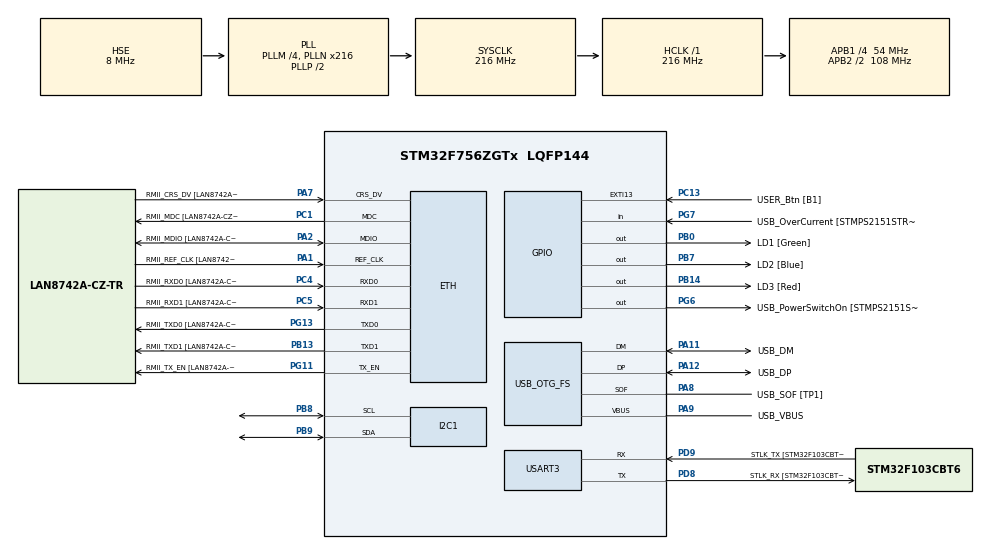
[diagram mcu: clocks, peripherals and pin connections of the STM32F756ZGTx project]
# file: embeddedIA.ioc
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CORTEX_M7.CPU_DCache=Enabled
CORTEX_M7.CPU_ICache=Enabled
CORTEX_M7.default_mode_Activation=1
ETH.MediaInterface=HAL_ETH_RMII_MODE
ETH.PHY_Name=LAN8742A_PHY_ADDRESS
ETH.PHY_Value=0
ETH.PhyAddress=0
I2C1.Timing=0x00808CD2
Mcu.Family=STM32F7
Mcu.Name=STM32F756ZGTx
Mcu.Package=LQFP144
NVIC.PriorityGroup=NVIC_PRIORITYGROUP_4
PA1.GPIO_Label=RMII_REF_CLK [LAN8742A-CZ-TR_REFCLK0]
PA1.Mode=RMII
PA1.Signal=ETH_REF_CLK
PA10.GPIO_Label=USB_ID
PA10.Signal=USB_OTG_FS_ID
PA11.GPIO_Label=USB_DM
PA11.Mode=Device_Only
PA11.Signal=USB_OTG_FS_DM
PA12.GPIO_Label=USB_DP
PA12.Mode=Device_Only
PA12.Signal=USB_OTG_FS_DP
PA13.GPIO_Label=TMS
PA13.Mode=Serial_Wire
PA13.Signal=SYS_JTMS-SWDIO
PA14.GPIO_Label=TCK
PA14.Mode=Serial_Wire
PA14.Signal=SYS_JTCK-SWCLK
PA2.GPIO_Label=RMII_MDIO [LAN8742A-CZ-TR_MDIO]
PA2.Mode=RMII
PA2.Signal=ETH_MDIO
PA7.GPIO_Label=RMII_CRS_DV [LAN8742A-CZ-TR_CRS_DV]
PA7.Mode=RMII
PA7.Signal=ETH_CRS_DV
PA8.GPIO_Label=USB_SOF [TP1]
PA8.Mode=Activate_SOF_FS
PA8.Signal=USB_OTG_FS_SOF
PA9.GPIO_Label=USB_VBUS
PA9.Mode=Activate_VBUS
PA9.Signal=USB_OTG_FS_VBUS
PB0.GPIO_Label=LD1 [Green]
PB0.Signal=GPIO_Output
PB13.GPIO_Label=RMII_TXD1 [LAN8742A-CZ-TR_TXD1]
PB13.Mode=RMII
PB13.Signal=ETH_TXD1
PB14.GPIO_Label=LD3 [Red]
PB14.Signal=GPIO_Output
PB3.GPIO_Label=SW0
PB3.Signal=SYS_JTDO-SWO
PB7.GPIO_Label=LD2 [Blue]
PB7.Signal=GPIO_Output
PB8.Mode=I2C
PB8.Signal=I2C1_SCL
PB9.Mode=I2C
PB9.Signal=I2C1_SDA
PC1.GPIO_Label=RMII_MDC [LAN8742A-CZ-TR_MDC]
PC1.Mode=RMII
PC1.Signal=ETH_MDC
PC13.GPIO_Label=USER_Btn [B1]
PC13.Signal=GPXTI13
PC14/OSC32_IN.Mode=LSE-External-Oscillator
PC14/OSC32_IN.Signal=RCC_OSC32_IN
PC15/OSC32_OUT.Mode=LSE-External-Oscillator
PC15/OSC32_OUT.Signal=RCC_OSC32_OUT
PC4.GPIO_Label=RMII_RXD0 [LAN8742A-CZ-TR_RXD0]
PC4.Mode=RMII
PC4.Signal=ETH_RXD0
PC5.GPIO_Label=RMII_RXD1 [LAN8742A-CZ-TR_RXD1]
PC5.Mode=RMII
PC5.Signal=ETH_RXD1
PD8.GPIO_Label=STLK_RX [STM32F103CBT6_PA3]
PD8.Mode=Asynchronous
PD8.Signal=USART3_TX
PD9.GPIO_Label=STLK_TX [STM32F103CBT6_PA2]
PD9.Mode=Asynchronous
PD9.Signal=USART3_RX
PG11.GPIO_Label=RMII_TX_EN [LAN8742A-CZ-TR_TXEN]
PG11.Mode=RMII
PG11.Signal=ETH_TX_EN
PG13.GPIO_Label=RMII_TXD0 [LAN8742A-CZ-TR_TXD0]
PG13.Mode=RMII
PG13.Signal=ETH_TXD0
PG6.GPIO_Label=USB_PowerSwitchOn [STMPS2151STR_EN]
PG6.Signal=GPIO_Output
PG7.GPIO_Label=USB_OverCurrent [STMPS2151STR_FAULT]
PG7.Signal=GPIO_Input
PH0/OSC_IN.GPIO_Label=MCO [STM32F103CBT6_PA8]
PH0/OSC_IN.Mode=HSE-External-Clock-Source
PH0/OSC_IN.Signal=RCC_OSC_IN
PH1/OSC_OUT.Mode=HSE-External-Clock-Source
PH1/OSC_OUT.Signal=RCC_OSC_OUT
ProjectManager.HeapSize=0x200
ProjectManager.StackSize=0x400
ProjectManager.TargetToolchain=STM32CubeIDE
RCC.48MHZClocksFreq_Value=24000000
RCC.AHBFreq_Value=216000000
RCC.APB1CLKDivider=RCC_HCLK_DIV4
RCC.APB1Freq_Value=54000000
RCC.APB1TimFreq_Value=108000000
RCC.APB2CLKDivider=RCC_HCLK_DIV2
RCC.APB2Freq_Value=108000000
RCC.APB2TimFreq_Value=216000000
RCC.CortexFreq_Value=216000000
RCC.HCLKFreq_Value=216000000
RCC.HSE_VALUE=8000000
RCC.HSI_VALUE=16000000
RCC.PLLM=4
RCC.PLLMUL=RCC_PLL_MUL9
RCC.PLLN=216
RCC.PLLP=2
RCC.PLLQ=9
RCC.PRESCALERUSB=RCC_USBCLKSOURCE_PLL_DIV1_5
RCC.SYSCLKFreq_VALUE=216000000
RCC.SYSCLKSource=RCC_SYSCLKSOURCE_PLLCLK
RCC.SYSCLKSourceVirtual=RCC_SYSCLKSOURCE_PLLCLK
RCC.USBFreq_Value=48000000
RCC.VCOOutputFreq_Value=432000000
STMicroelectronics.X-CUBE-AI.10.2.1.ActivationBufferSizeList=1940
STMicroelectronics.X-CUBE-AI.10.2.1.ActivationBuffers=pool0
STMicroelectronics.X-CUBE-AI.10.2.1.ActivationNames=pool0
STMicroelectronics.X-CUBE-AI.10.2.1.ActivationSizes=AI_STUDENTPENDULUM_DATA_ACTIVATION_1_SIZE
STMicroelectronics.X-CUBE-AI.10.2.1.HeapSize=0x800
STMicroelectronics.X-CUBE-AI.10.2.1.InternalRamActivationBufferMaxSize=AI_STUDENTPENDULUM_DATA_ACTIVATIONS_SIZE
STMicroelectronics.X-CUBE-AI.10.2.1.LatestDirectoryUsed-0d0c57ecec5dcffaf5e7b80e92b05d9a139568d670f8cf2fb0b8ded59386e116=/home/tomnwol/Code/IA/pendule-inverse-rl/embedded/weights
STMicroelectronics.X-CUBE-AI.10.2.1.MaximumNumberOfInputLayer=1
STMicroelectronics.X-CUBE-AI.10.2.1.MaximumNumberOfOutputLayer=1
STMicroelectronics.X-CUBE-AI.10.2.1.MaximumSizeOfInputLayer=1
STMicroelectronics.X-CUBE-AI.10.2.1.MaximumSizeOfOutputLayer=1
STMicroelectronics.X-CUBE-AI.10.2.1.ModelActualCompression-0d0c57ecec5dcffaf5e7b80e92b05d9a139568d670f8cf2fb0b8ded59386e116=0.0
STMicroelectronics.X-CUBE-AI.10.2.1.ModelCompression-0d0c57ecec5dcffaf5e7b80e92b05d9a139568d670f8cf2fb0b8ded59386e116=None
STMicroelectronics.X-CUBE-AI.10.2.1.ModelFlashOccupation-0d0c57ecec5dcffaf5e7b80e92b05d9a139568d670f8cf2fb0b8ded59386e116=12516
STMicroelectronics.X-CUBE-AI.10.2.1.ModelHashList=0d0c57ecec5dcffaf5e7b80e92b05d9a139568d670f8cf2fb0b8ded59386e116
STMicroelectronics.X-CUBE-AI.10.2.1.ModelKind-0d0c57ecec5dcffaf5e7b80e92b05d9a139568d670f8cf2fb0b8ded59386e116=ONNX
STMicroelectronics.X-CUBE-AI.10.2.1.ModelMacc-0d0c57ecec5dcffaf5e7b80e92b05d9a139568d670f8cf2fb0b8ded59386e116=673
STMicroelectronics.X-CUBE-AI.10.2.1.ModelName-0d0c57ecec5dcffaf5e7b80e92b05d9a139568d670f8cf2fb0b8ded59386e116=studentpendulum
STMicroelectronics.X-CUBE-AI.10.2.1.ModelNameList=studentpendulum
STMicroelectronics.X-CUBE-AI.10.2.1.ModelRamOccupation-0d0c57ecec5dcffaf5e7b80e92b05d9a139568d670f8cf2fb0b8ded59386e116=1940
STMicroelectronics.X-CUBE-AI.10.2.1.ModelStructureFile-0d0c57ecec5dcffaf5e7b80e92b05d9a139568d670f8cf2fb0b8ded59386e116=/home/tomnwol/Code/IA/pendule-inverse-rl/embedded/weights/student.onnx
STMicroelectronics.X-CUBE-AI.10.2.1.ModelType-0d0c57ecec5dcffaf5e7b80e92b05d9a139568d670f8cf2fb0b8ded59386e116=STM32Cube.AI MCU runtime
STMicroelectronics.X-CUBE-AI.10.2.1.ReadyForCodeGeneration=true
STMicroelectronics.X-CUBE-AI.10.2.1.StackSize=0x800
STMicroelectronics.X-CUBE-AI.10.2.1.WorkingBufferStartAddrList=0xFFFFFFFF
STMicroelectronics.X-CUBE-AI.10.2.1.XAaCUBEAaAICcArtificialOoIntelligenceJjCore=true
STMicroelectronics.X-CUBE-AI.10.2.1.copyWeightToRam=false
STMicroelectronics.X-CUBE-AI.10.2.1.customLayerConfigEnabled=false
STMicroelectronics.X-CUBE-AI.10.2.1.noOnnxIoTranspose=false
STMicroelectronics.X-CUBE-AI.10.2.1.outputDirectory=/home/tomnwol/.stm32cubemx/studentpendulum_output
STMicroelectronics.X-CUBE-AI.10.2.1.useInputAllocation=true
STMicroelectronics.X-CUBE-AI.10.2.1.useOutputAllocation=true
USART3.VirtualMode-Asynchronous=VM_ASYNC
USB_OTG_FS.VirtualMode=Device_Only
VP_STMicroelectronics.X-CUBE-AI_VS_ArtificialOoIntelligenceJjXAaCUBEAaAI_10.2.1.Mode=ArtificialOoIntelligenceJjXAaCUBEAaAI
board=NUCLEO-F756ZG

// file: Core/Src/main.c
/* USER CODE BEGIN Header */
/**
  ******************************************************************************
  * @file           : main.c
  * @brief          : Main program body
  ******************************************************************************
  * @attention
  *
  * Copyright (c) 2026 STMicroelectronics.
  * All rights reserved.
  *
  * This software is licensed under terms that can be found in the LICENSE file
  * in the root directory of this software component.
  * If no LICENSE file comes with this software, it is provided AS-IS.
  *
  ******************************************************************************
  */
/* USER CODE END Header */
#include "main.h"
#include "string.h"

/* USER CODE BEGIN Includes */
#include "studentpendulum.h"
#include "studentpendulum_data.h"
/* USER CODE END Includes */

#if defined ( __ICCARM__ ) /*!< IAR Compiler */
#pragma location=0x2004c000
ETH_DMADescTypeDef  DMARxDscrTab[ETH_RX_DESC_CNT]; /* Ethernet Rx DMA Descriptors */
#pragma location=0x2004c0a0
ETH_DMADescTypeDef  DMATxDscrTab[ETH_TX_DESC_CNT]; /* Ethernet Tx DMA Descriptors */

#elif defined ( __CC_ARM )  /* MDK ARM Compiler */

__attribute__((at(0x2004c000))) ETH_DMADescTypeDef  DMARxDscrTab[ETH_RX_DESC_CNT]; /* Ethernet Rx DMA Descriptors */
__attribute__((at(0x2004c0a0))) ETH_DMADescTypeDef  DMATxDscrTab[ETH_TX_DESC_CNT]; /* Ethernet Tx DMA Descriptors */

#elif defined ( __GNUC__ ) /* GNU Compiler */

ETH_DMADescTypeDef DMARxDscrTab[ETH_RX_DESC_CNT] __attribute__((section(".RxDecripSection"))); /* Ethernet Rx DMA Descriptors */
ETH_DMADescTypeDef DMATxDscrTab[ETH_TX_DESC_CNT] __attribute__((section(".TxDecripSection")));   /* Ethernet Tx DMA Descriptors */
#endif

ETH_TxPacketConfig TxConfig;

ETH_HandleTypeDef heth;

I2C_HandleTypeDef hi2c1;

UART_HandleTypeDef huart3;

PCD_HandleTypeDef hpcd_USB_OTG_FS;

void SystemClock_Config(void);
static void MPU_Config(void);
static void MX_GPIO_Init(void);
static void MX_ETH_Init(void);
static void MX_I2C1_Init(void);
static void MX_USART3_UART_Init(void);
static void MX_USB_OTG_FS_PCD_Init(void);

/* USER CODE BEGIN 0 */

/* PC -> board: 0xA5, three little-endian float32 (cos θ, sin θ, θ̇), XOR.
 * Board -> PC: 0x5A, torque float32, cycle count uint32, XOR of those 8 bytes.
 * The cycle count is the network time, from the DWT counter at 216 MHz.
 * The ±2 clip stays on the PC, in Pendulum.step. */
#define HIL_OBS_MAGIC    0xA5U
#define HIL_TORQUE_MAGIC 0x5AU

/* Working memory of the network. Weights stay in flash. */
AI_ALIGNED(4)
static uint8_t k_activations[AI_STUDENTPENDULUM_DATA_ACTIVATIONS_SIZE];

static ai_handle k_network = AI_HANDLE_NULL;

static void uart_print(const char *text)
{
  HAL_UART_Transmit(&huart3, (uint8_t *)text, (uint16_t)strlen(text), HAL_MAX_DELAY);
}

static void network_init(void)
{
  ai_error err;
  /* NULL weights: use the array already stored in studentpendulum_data.c. */
  const ai_handle activations[] = { k_activations };

  err = ai_studentpendulum_create_and_init(&k_network, activations, NULL);
  if (err.type != AI_ERROR_NONE) {
    uart_print("network init failed\r\n");
    Error_Handler();
  }

  /* Cortex-M7 cycle counter. Unlock, then enable. */
  CoreDebug->DEMCR |= CoreDebug_DEMCR_TRCENA_Msk;
  DWT->LAR = 0xC5ACCE55U;
  DWT->CYCCNT = 0;
  DWT->CTRL |= DWT_CTRL_CYCCNTENA_Msk;
}

static float network_torque(const float observation[3])
{
  ai_buffer *input = ai_studentpendulum_inputs_get(k_network, NULL);
  ai_buffer *output = ai_studentpendulum_outputs_get(k_network, NULL);
  float in_data[3];
  float out_data[1];
  ai_i32 batches;

  in_data[0] = observation[0];
  in_data[1] = observation[1];
  in_data[2] = observation[2];
  /* Run reads these pointers. The activation buffer stays internal. */
  input[0].data = AI_HANDLE_PTR(in_data);
  output[0].data = AI_HANDLE_PTR(out_data);

  batches = ai_studentpendulum_run(k_network, input, output);
  if (batches != 1) {
    Error_Handler();
  }
  return out_data[0];
}

static uint8_t hil_checksum(const uint8_t *data, uint16_t length)
{
  uint8_t sum = 0;
  uint16_t i;

  for (i = 0; i < length; i++) {
    sum ^= data[i];
  }
  return sum;
}

/* Unplug can leave the UART in an error state. Re-init so the next plug
 * is answered without a manual reset. A timeout just drops the frame. */
static void uart_recover(void)
{
  HAL_UART_Abort(&huart3);
  HAL_UART_DeInit(&huart3);
  MX_USART3_UART_Init();
}

static int hil_read(uint8_t *data, uint16_t length)
{
  HAL_StatusTypeDef status = HAL_UART_Receive(&huart3, data, length, 100);

  if (status == HAL_OK) {
    return 1;
  }
  if (status != HAL_TIMEOUT) {
    uart_recover();
  }
  return 0;
}

/* One control tick. A bad byte is dropped so the next frame can resync. */
static void hil_step(void)
{
  uint8_t marker;
  uint8_t payload[12];
  uint8_t check;
  float observation[3];
  float torque;
  uint32_t cycles;
  uint8_t reply[10];

  if (!hil_read(&marker, 1) || marker != HIL_OBS_MAGIC) {
    return;
  }
  if (!hil_read(payload, sizeof payload) || !hil_read(&check, 1)) {
    return;
  }
  if (check != hil_checksum(payload, sizeof payload)) {
    return;
  }

  memcpy(observation, payload, sizeof observation);
  cycles = DWT->CYCCNT;
  torque = network_torque(observation);
  cycles = DWT->CYCCNT - cycles;

  reply[0] = HIL_TORQUE_MAGIC;
  memcpy(&reply[1], &torque, sizeof torque);
  memcpy(&reply[5], &cycles, sizeof cycles);
  reply[9] = hil_checksum(&reply[1], 8);
  if (HAL_UART_Transmit(&huart3, reply, sizeof reply, 20) != HAL_OK) {
    uart_recover();
  }
}

/* USER CODE END 0 */

int main(void)
{

  /* MPU Configuration--------------------------------------------------------*/
  MPU_Config();

  /* Enable the CPU Cache */

  /* Enable I-Cache---------------------------------------------------------*/
  SCB_EnableICache();

  /* Enable D-Cache---------------------------------------------------------*/
  SCB_EnableDCache();

  /* MCU Configuration--------------------------------------------------------*/

  /* Reset of all peripherals, Initializes the Flash interface and the Systick. */
  HAL_Init();

  /* Configure the system clock */
  SystemClock_Config();

  /* Initialize all configured peripherals */
  MX_GPIO_Init();
  MX_ETH_Init();
  MX_I2C1_Init();
  MX_USART3_UART_Init();
  MX_USB_OTG_FS_PCD_Init();
  /* USER CODE BEGIN 2 */
  network_init();
  /* USER CODE END 2 */

  /* Infinite loop */
  while (1)
  {

    /* USER CODE BEGIN 3 */
    hil_step();
  }
  /* USER CODE END 3 */
}

void SystemClock_Config(void)
{
  RCC_OscInitTypeDef RCC_OscInitStruct = {0};
  RCC_ClkInitTypeDef RCC_ClkInitStruct = {0};

  /** Configure LSE Drive Capability
  */
  HAL_PWR_EnableBkUpAccess();

  /** Configure the main internal regulator output voltage
  */
  __HAL_RCC_PWR_CLK_ENABLE();
  __HAL_PWR_VOLTAGESCALING_CONFIG(PWR_REGULATOR_VOLTAGE_SCALE1);

  /** Initializes the RCC Oscillators according to the specified parameters
  * in the RCC_OscInitTypeDef structure.
  */
  RCC_OscInitStruct.OscillatorType = RCC_OSCILLATORTYPE_HSE;
  RCC_OscInitStruct.HSEState = RCC_HSE_BYPASS;
  RCC_OscInitStruct.PLL.PLLState = RCC_PLL_ON;
  RCC_OscInitStruct.PLL.PLLSource = RCC_PLLSOURCE_HSE;
  RCC_OscInitStruct.PLL.PLLM = 4;
  RCC_OscInitStruct.PLL.PLLN = 216;
  RCC_OscInitStruct.PLL.PLLP = 2;
  RCC_OscInitStruct.PLL.PLLQ = 9;
  if (HAL_RCC_OscConfig(&RCC_OscInitStruct) != HAL_OK)
  {
    Error_Handler();
  }

  /** Activate the Over-Drive mode
  */
  if (HAL_PWREx_EnableOverDrive() != HAL_OK)
  {
    Error_Handler();
  }

  /** Initializes the CPU, AHB and APB buses clocks
  */
  RCC_ClkInitStruct.ClockType = RCC_CLOCKTYPE_HCLK|RCC_CLOCKTYPE_SYSCLK
                              |RCC_CLOCKTYPE_PCLK1|RCC_CLOCKTYPE_PCLK2;
  RCC_ClkInitStruct.SYSCLKSource = RCC_SYSCLKSOURCE_PLLCLK;
  RCC_ClkInitStruct.AHBCLKDivider = RCC_SYSCLK_DIV1;
  RCC_ClkInitStruct.APB1CLKDivider = RCC_HCLK_DIV4;
  RCC_ClkInitStruct.APB2CLKDivider = RCC_HCLK_DIV2;

  if (HAL_RCC_ClockConfig(&RCC_ClkInitStruct, FLASH_LATENCY_7) != HAL_OK)
  {
    Error_Handler();
  }
}

static void MX_ETH_Init(void)
{

   static uint8_t MACAddr[6];

  heth.Instance = ETH;
  MACAddr[0] = 0x00;
  MACAddr[1] = 0x80;
  MACAddr[2] = 0xE1;
  MACAddr[3] = 0x00;
  MACAddr[4] = 0x00;
  MACAddr[5] = 0x00;
  heth.Init.MACAddr = &MACAddr[0];
  heth.Init.MediaInterface = HAL_ETH_RMII_MODE;
  heth.Init.TxDesc = DMATxDscrTab;
  heth.Init.RxDesc = DMARxDscrTab;
  heth.Init.RxBuffLen = 1524;

  if (HAL_ETH_Init(&heth) != HAL_OK)
  {
    Error_Handler();
  }

  memset(&TxConfig, 0 , sizeof(ETH_TxPacketConfig));
  TxConfig.Attributes = ETH_TX_PACKETS_FEATURES_CSUM | ETH_TX_PACKETS_FEATURES_CRCPAD;
  TxConfig.ChecksumCtrl = ETH_CHECKSUM_IPHDR_PAYLOAD_INSERT_PHDR_CALC;
  TxConfig.CRCPadCtrl = ETH_CRC_PAD_INSERT;

}

static void MX_I2C1_Init(void)
{

  hi2c1.Instance = I2C1;
  hi2c1.Init.Timing = 0x00808CD2;
  hi2c1.Init.OwnAddress1 = 0;
  hi2c1.Init.AddressingMode = I2C_ADDRESSINGMODE_7BIT;
  hi2c1.Init.DualAddressMode = I2C_DUALADDRESS_DISABLE;
  hi2c1.Init.OwnAddress2 = 0;
  hi2c1.Init.OwnAddress2Masks = I2C_OA2_NOMASK;
  hi2c1.Init.GeneralCallMode = I2C_GENERALCALL_DISABLE;
  hi2c1.Init.NoStretchMode = I2C_NOSTRETCH_DISABLE;
  if (HAL_I2C_Init(&hi2c1) != HAL_OK)
  {
    Error_Handler();
  }

  /** Configure Analogue filter
  */
  if (HAL_I2CEx_ConfigAnalogFilter(&hi2c1, I2C_ANALOGFILTER_ENABLE) != HAL_OK)
  {
    Error_Handler();
  }

  /** Configure Digital filter
  */
  if (HAL_I2CEx_ConfigDigitalFilter(&hi2c1, 0) != HAL_OK)
  {
    Error_Handler();
  }

}

static void MX_USART3_UART_Init(void)
{

  huart3.Instance = USART3;
  huart3.Init.BaudRate = 115200;
  huart3.Init.WordLength = UART_WORDLENGTH_8B;
  huart3.Init.StopBits = UART_STOPBITS_1;
  huart3.Init.Parity = UART_PARITY_NONE;
  huart3.Init.Mode = UART_MODE_TX_RX;
  huart3.Init.HwFlowCtl = UART_HWCONTROL_NONE;
  huart3.Init.OverSampling = UART_OVERSAMPLING_16;
  huart3.Init.OneBitSampling = UART_ONE_BIT_SAMPLE_DISABLE;
  huart3.AdvancedInit.AdvFeatureInit = UART_ADVFEATURE_NO_INIT;
  if (HAL_UART_Init(&huart3) != HAL_OK)
  {
    Error_Handler();
  }

}

static void MX_USB_OTG_FS_PCD_Init(void)
{

  hpcd_USB_OTG_FS.Instance = USB_OTG_FS;
  hpcd_USB_OTG_FS.Init.dev_endpoints = 6;
  hpcd_USB_OTG_FS.Init.speed = PCD_SPEED_FULL;
  hpcd_USB_OTG_FS.Init.dma_enable = DISABLE;
  hpcd_USB_OTG_FS.Init.phy_itface = PCD_PHY_EMBEDDED;
  hpcd_USB_OTG_FS.Init.Sof_enable = ENABLE;
  hpcd_USB_OTG_FS.Init.low_power_enable = DISABLE;
  hpcd_USB_OTG_FS.Init.lpm_enable = DISABLE;
  hpcd_USB_OTG_FS.Init.vbus_sensing_enable = ENABLE;
  hpcd_USB_OTG_FS.Init.use_dedicated_ep1 = DISABLE;
  if (HAL_PCD_Init(&hpcd_USB_OTG_FS) != HAL_OK)
  {
    Error_Handler();
  }

}

static void MX_GPIO_Init(void)
{
  GPIO_InitTypeDef GPIO_InitStruct = {0};

  /* GPIO Ports Clock Enable */
  __HAL_RCC_GPIOC_CLK_ENABLE();
  __HAL_RCC_GPIOH_CLK_ENABLE();
  __HAL_RCC_GPIOA_CLK_ENABLE();
  __HAL_RCC_GPIOB_CLK_ENABLE();
  __HAL_RCC_GPIOD_CLK_ENABLE();
  __HAL_RCC_GPIOG_CLK_ENABLE();

  /*Configure GPIO pin Output Level */
  HAL_GPIO_WritePin(GPIOB, LD1_Pin|LD3_Pin|LD2_Pin, GPIO_PIN_RESET);

  /*Configure GPIO pin Output Level */
  HAL_GPIO_WritePin(USB_PowerSwitchOn_GPIO_Port, USB_PowerSwitchOn_Pin, GPIO_PIN_RESET);

  /*Configure GPIO pin : USER_Btn_Pin */
  GPIO_InitStruct.Pin = USER_Btn_Pin;
  GPIO_InitStruct.Mode = GPIO_MODE_IT_RISING;
  GPIO_InitStruct.Pull = GPIO_NOPULL;
  HAL_GPIO_Init(USER_Btn_GPIO_Port, &GPIO_InitStruct);

  /*Configure GPIO pins : LD1_Pin LD3_Pin LD2_Pin */
  GPIO_InitStruct.Pin = LD1_Pin|LD3_Pin|LD2_Pin;
  GPIO_InitStruct.Mode = GPIO_MODE_OUTPUT_PP;
  GPIO_InitStruct.Pull = GPIO_NOPULL;
  GPIO_InitStruct.Speed = GPIO_SPEED_FREQ_LOW;
  HAL_GPIO_Init(GPIOB, &GPIO_InitStruct);

  /*Configure GPIO pin : USB_PowerSwitchOn_Pin */
  GPIO_InitStruct.Pin = USB_PowerSwitchOn_Pin;
  GPIO_InitStruct.Mode = GPIO_MODE_OUTPUT_PP;
  GPIO_InitStruct.Pull = GPIO_NOPULL;
  GPIO_InitStruct.Speed = GPIO_SPEED_FREQ_LOW;
  HAL_GPIO_Init(USB_PowerSwitchOn_GPIO_Port, &GPIO_InitStruct);

  /*Configure GPIO pin : USB_OverCurrent_Pin */
  GPIO_InitStruct.Pin = USB_OverCurrent_Pin;
  GPIO_InitStruct.Mode = GPIO_MODE_INPUT;
  GPIO_InitStruct.Pull = GPIO_NOPULL;
  HAL_GPIO_Init(USB_OverCurrent_GPIO_Port, &GPIO_InitStruct);

}

 /* MPU Configuration */

void MPU_Config(void)
{
  MPU_Region_InitTypeDef MPU_InitStruct = {0};

  /* Disables the MPU */
  HAL_MPU_Disable();

  /** Initializes and configures the Region and the memory to be protected
  */
  MPU_InitStruct.Enable = MPU_REGION_ENABLE;
  MPU_InitStruct.Number = MPU_REGION_NUMBER0;
  MPU_InitStruct.BaseAddress = 0x0;
  MPU_InitStruct.Size = MPU_REGION_SIZE_4GB;
  MPU_InitStruct.SubRegionDisable = 0x87;
  MPU_InitStruct.TypeExtField = MPU_TEX_LEVEL0;
  MPU_InitStruct.AccessPermission = MPU_REGION_NO_ACCESS;
  MPU_InitStruct.DisableExec = MPU_INSTRUCTION_ACCESS_DISABLE;
  MPU_InitStruct.IsShareable = MPU_ACCESS_SHAREABLE;
  MPU_InitStruct.IsCacheable = MPU_ACCESS_NOT_CACHEABLE;
  MPU_InitStruct.IsBufferable = MPU_ACCESS_NOT_BUFFERABLE;

  HAL_MPU_ConfigRegion(&MPU_InitStruct);
  /* Enables the MPU */
  HAL_MPU_Enable(MPU_PRIVILEGED_DEFAULT);

}

void Error_Handler(void)
{
  __disable_irq();
  while (1)
  {
  }
}
